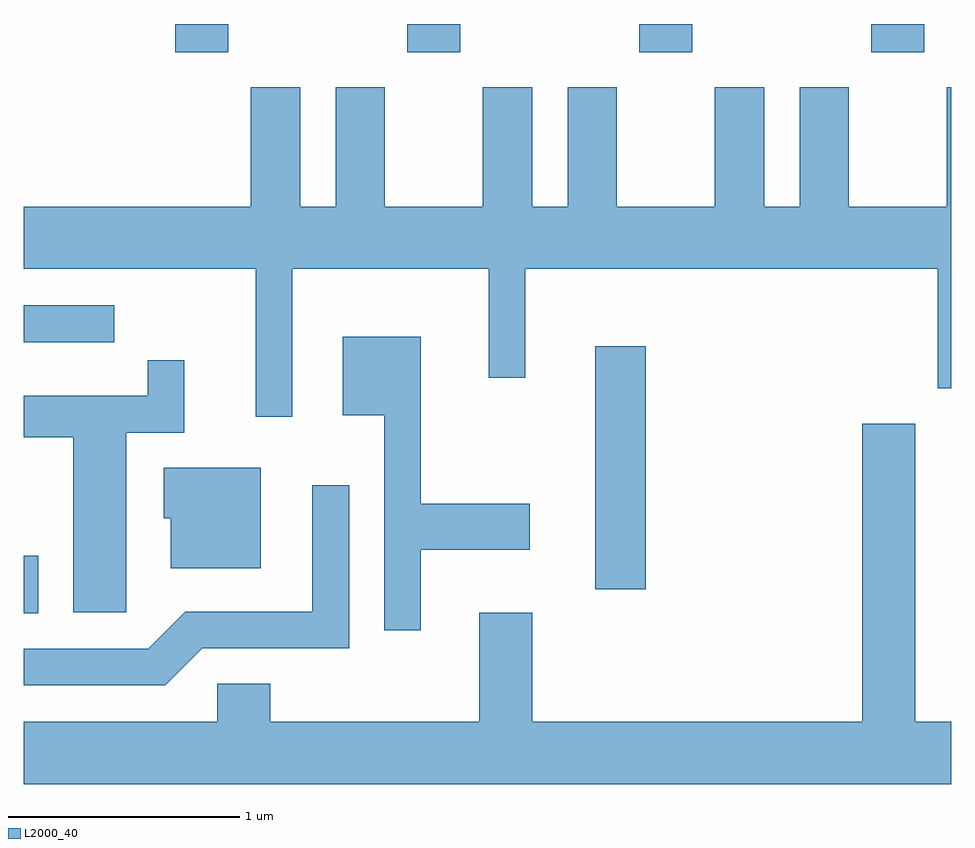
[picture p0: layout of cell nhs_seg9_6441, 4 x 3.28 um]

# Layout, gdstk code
import gdstk
lib = gdstk.Library(unit=1e-6, precision=1e-09)
def R(c, l, rs):  # rectangles x0, y0, x1, y1
    for r in rs: c.add(gdstk.rectangle(r[:2], r[2:], *l))
def A(c, l, x, y, w, h, nx, ny, dx, dy):  # array of equal rectangles
    R(c, l, [(x+i*dx, y+j*dy, x+i*dx+w, y+j*dy+h) for i in range(nx) for j in range(ny)])
def P(c, l, *ps):  # polygons
    for p in ps: c.add(gdstk.Polygon(p, *l))
L2000_40 = (2000, 40)

nhs_seg9_6441 = lib.new_cell('nhs_seg9_6441')
A(nhs_seg9_6441, L2000_40, 376.266, 1988.311, 0.228, 0.121, 4, 1, 1, 0)
R(nhs_seg9_6441, L2000_40, [(375.611,1985.891,375.674,1986.139), (378.076,1985.996,378.294,1987.044), (375.611,1987.061,376.003,1987.219)])
P(nhs_seg9_6441, L2000_40, [(376.769,1987.376),(377.616,1987.376),(377.616,1986.908),(377.774,1986.908),(377.774,1987.376),(379.551,1987.376),(379.551,1986.861),(379.611,1986.861),(379.611,1988.159),(379.591,1988.159),(379.591,1987.644),(379.169,1987.644),(379.169,1988.159),(378.956,1988.159),(378.956,1987.644),(378.804,1987.644),(378.804,1988.159),(378.591,1988.159),(378.591,1987.644),(378.169,1987.644),(378.169,1988.159),(377.956,1988.159),(377.956,1987.644),(377.804,1987.644),(377.804,1988.159),(377.591,1988.159),(377.591,1987.644),(377.169,1987.644),(377.169,1988.159),(376.956,1988.159),(376.956,1987.644),(376.804,1987.644),(376.804,1988.159),(376.591,1988.159),(376.591,1987.644),(375.611,1987.644),(375.611,1987.376),(376.611,1987.376),(376.611,1986.738),(376.769,1986.738)],
  [(377.324,1986.166),(377.794,1986.166),(377.794,1986.364),(377.324,1986.364),(377.324,1987.084),(376.986,1987.084),(376.986,1986.746),(377.166,1986.746),(377.166,1985.818),(377.324,1985.818)],
  [(376.054,1986.671),(376.304,1986.671),(376.304,1986.983),(376.146,1986.983),(376.146,1986.829),(375.611,1986.829),(375.611,1986.651),(375.826,1986.651),(375.826,1985.896),(376.054,1985.896)],
  [(379.611,1985.424),(379.454,1985.424),(379.454,1986.709),(379.226,1986.709),(379.226,1985.424),(377.804,1985.424),(377.804,1985.894),(377.576,1985.894),(377.576,1985.424),(376.674,1985.424),(376.674,1985.589),(376.446,1985.589),(376.446,1985.424),(375.611,1985.424),(375.611,1985.156),(379.611,1985.156)],
  [(376.634,1986.519),(376.216,1986.519),(376.216,1986.301),(376.246,1986.301),(376.246,1986.086),(376.634,1986.086)],
  [(376.382,1985.741),(377.014,1985.741),(377.014,1986.443),(376.856,1986.443),(376.856,1985.899),(376.309,1985.899),(376.149,1985.739),(375.611,1985.739),(375.611,1985.581),(376.222,1985.581)])

lib.write_gds('nhs_seg9_6441.gds')
